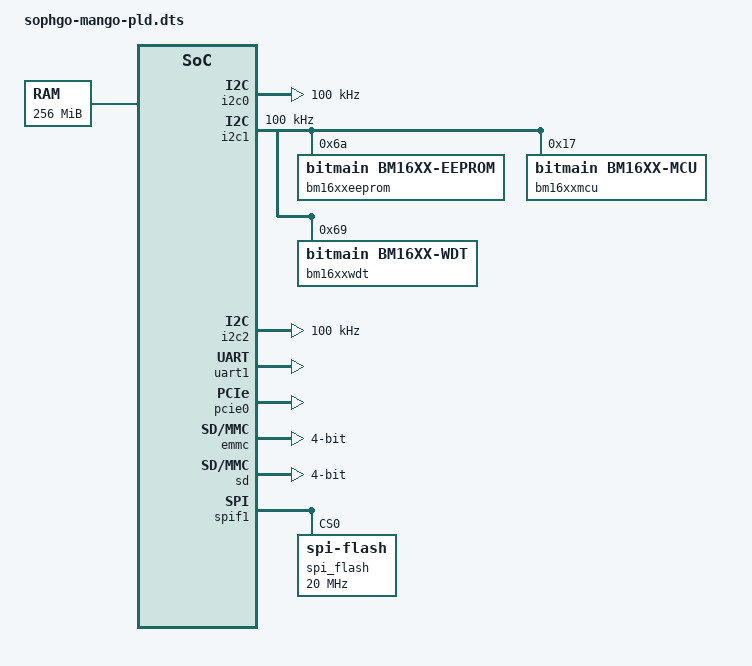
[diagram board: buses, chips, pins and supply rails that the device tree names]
/dts-v1/;

#include <dt-bindings/interrupt-controller/arm-gic.h>
#include <dt-bindings/gpio/gpio.h>

/ {
	compatible = "linux,dummy-virt";
	#size-cells = <0x2>;
	#address-cells = <0x2>;
	interrupt-parent = <&gic>;

	memory {
		reg = <0x00 0x00000000 0x0 0x10000000>;
		device_type = "memory";
	};

	gic: interrupt-controller {
		compatible = "arm,cortex-a15-gic";
		ranges;
		#size-cells = <0x2>;
		#address-cells = <0x2>;
		interrupt-controller;
		#interrupt-cells = <0x3>;
		reg = <0x70 0x31001000 0x0 0x1000>,
		      <0x70 0x31002000 0x0 0x2000>;
	};

	psci {
		migrate = <0xc4000005>;
		cpu_on = <0xc4000003>;
		cpu_off = <0x84000002>;
		cpu_suspend = <0xc4000001>;
		sys_poweroff = <0x84000008>;
		sys_reset = <0x84000009>;
		method = "smc";
		compatible = "arm,psci-0.2", "arm,psci";
	};

	cpus {
		#size-cells = <0x0>;
		#address-cells = <0x1>;
		cpu-map {
			cluster0 {
				core0 {
					cpu = <&cpu0>;
				};
				core1 {
					cpu = <&cpu1>;
				};
				core2 {
					cpu = <&cpu2>;
				};
				core3 {
					cpu = <&cpu3>;
				};
		    };
			cluster1 {
				core0 {
					cpu = <&cpu4>;
				};
				core1 {
					cpu = <&cpu5>;
				};
				core2 {
					cpu = <&cpu6>;
				};
				core3 {
					cpu = <&cpu7>;
				};
			};
		};

		cpu0: cpu@0 {
			reg = <0x0>;
			enable-method = "psci";
			compatible = "arm,cortex-a53";
			device_type = "cpu";
		};

		cpu1: cpu@1 {
			reg = <0x1>;
			enable-method = "psci";
			compatible = "arm,cortex-a53";
			device_type = "cpu";
		};

		cpu2: cpu@2 {
			reg = <0x2>;
			enable-method = "psci";
			compatible = "arm,cortex-a53";
			device_type = "cpu";
		};

		cpu3: cpu@3 {
			reg = <0x3>;
			enable-method = "psci";
			compatible = "arm,cortex-a53";
			device_type = "cpu";
		};

		cpu4: cpu@100 {
			reg = <0x100>;
			enable-method = "psci";
			compatible = "arm,cortex-a53";
			device_type = "cpu";
		};

		cpu5: cpu@101 {
			reg = <0x101>;
			enable-method = "psci";
			compatible = "arm,cortex-a53";
			device_type = "cpu";
		};

		cpu6: cpu@102 {
			reg = <0x102>;
			enable-method = "psci";
			compatible = "arm,cortex-a53";
			device_type = "cpu";
		};

		cpu7: cpu@103 {
			reg = <0x103>;
			enable-method = "psci";
			compatible = "arm,cortex-a53";
			device_type = "cpu";
		};
	};

	timer {
		interrupts = <GIC_PPI 13 (GIC_CPU_MASK_SIMPLE(8) | IRQ_TYPE_LEVEL_LOW)>,
			<GIC_PPI 14 (GIC_CPU_MASK_SIMPLE(8) | IRQ_TYPE_LEVEL_LOW)>,
			<GIC_PPI 11 (GIC_CPU_MASK_SIMPLE(8) | IRQ_TYPE_LEVEL_LOW)>,
			<GIC_PPI 10 (GIC_CPU_MASK_SIMPLE(8) | IRQ_TYPE_LEVEL_LOW)>;
		always-on;
		compatible = "arm,armv8-timer";
	};

	apb_pclk {
		phandle = <0x8000>;
		clock-output-names = "clk24mhz";
		clock-frequency = <0x16e3600>;
		#clock-cells = <0x0>;
		compatible = "fixed-clock";
	};

	rst: reset-controller {
		compatible = "bitmain,bm-reset";
		reg = <0x70 0x30013000 0x0 0xc>;
		#reset-cells = <1>;
	 };

	gpio: gpio@7030009000 {
		compatible = "snps,dw-apb-gpio";
		reg = <0x70 0x30009000 0x0 0x1000>;
		#address-cells = <1>;
		#size-cells = <0>;

		port0a: gpio-controller@0 {
			compatible = "snps,dw-apb-gpio-port";
			bank-name = "port0a";
			gpio-controller;
			#gpio-cells = <2>;
			snps,nr-gpios = <32>;
			reg = <0>;
			interrupt-controller;
			interrupts = <GIC_SPI 64 IRQ_TYPE_LEVEL_HIGH>;
		};
	};

	gpio1: gpio@703000a000 {
		compatible = "snps,dw-apb-gpio";
		reg = <0x70 0x3000a000 0x0 0x1000>;
		#address-cells = <1>;
		#size-cells = <0>;

		port1a: gpio-controller@1 {
			compatible = "snps,dw-apb-gpio-port";
			bank-name = "port1a";
			gpio-controller;
			#gpio-cells = <2>;
			snps,nr-gpios = <32>;
			reg = <0>;
			interrupt-controller;
			interrupts = <GIC_SPI 65 IRQ_TYPE_LEVEL_HIGH>;
		};
	};

	gpio2: gpio@703000b000 {
		compatible = "snps,dw-apb-gpio";
		reg = <0x70 0x3000b000 0x0 0x1000>;
		#address-cells = <1>;
		#size-cells = <0>;

		port2a: gpio-controller@2 {
			compatible = "snps,dw-apb-gpio-port";
			bank-name = "port2a";
			gpio-controller;
			#gpio-cells = <2>;
			snps,nr-gpios = <32>;
			reg = <0>;
			interrupt-controller;
			interrupts = <GIC_SPI 66 IRQ_TYPE_LEVEL_HIGH>;
		};
	};

	i2c0: i2c@7030005000 {
		compatible = "snps,designware-i2c";
		reg = <0x70 0x30005000 0x0 0x1000>;
		bus-clocks = <100000000>;
		clock-frequency = <100000>;
	};

	i2c1: i2c@7030006000 {
		compatible = "snps,designware-i2c";
		reg = <0x70 0x30006000 0x0 0x1000>;
		bus-clocks = <100000000>;
		clock-frequency = <100000>;

		#address-cells = <1>;
		#size-cells = <0>;

		bm16xxeeprom@6a {
			compatible = "bitmain,bm16xx-eeprom";
			reg = <0x6a>;

			#address-cells = <1>;
			#size-cells = <1>;
			sn: sn@0000 {
				reg = <0x0000 17>;
			};

			mac0: mac0@0020 {
				reg = <0x0020 6>;
			};

			mac1: mac1@0040 {
				reg = <0x0040 6>;
			};
		};

		bm16xxmcu@17 {
			compatible = "bitmain,bm16xx-mcu";
			reg = <0x17>;

			nvmem-cells = <&sn>, <&mac0>, <&mac1>;
			nvmem-cell-names = "sn", "mac0", "mac1";
		};

		bm16xxwdt@69 {
			compatible = "bitmain,bm16xx-wdt";
			reg = <0x69>;
		};
	};

	i2c2: i2c@7030007000 {
		compatible = "snps,designware-i2c";
		reg = <0x70 0x30007000 0x0 0x1000>;
		bus-clocks = <100000000>;
		clock-frequency = <100000>;
	};

	uart1: serial1@7040001000 {
		compatible = "snps,dw-apb-uart";
		reg = <0x70 0x40001000 0x0 0x1000>;
		clock-frequency = <1843200>;
		interrupts = <GIC_SPI 81 IRQ_TYPE_LEVEL_HIGH>;
		reg-shift = <2>;
		reg-io-width = <4>;
	};

	aliases {
		serial1 = &uart1;
	};

	chosen {
		stdout-path = "serial1"; // "serial0:115200n8", no arguments means no re-initialization
	};

	pcie0: pcie0@60000000{
		compatible = "sophgo,mango-cdns-pcie";
		device_type = "pci";
		#address-cells = <3>;
		#size-cells = <2>;
		bus-range = <0x0 0x1f>;  // For this example, config space is just sized for 32 buses.

		// This is a 64 bit system, so two cells each for cpu address & size
		// CPU_PHYSICAL(2)  SIZE(2)
		reg = <0x20 (0x00000000) 0x0 0x2000000>, /*Config space */
		      <0x0 (0x60000000) 0x0 0x1000000>;  /*pcie base */
		reg-names = "cfg", "reg_base";

		linux,pci-domain = <0>;
		/// BUS_ADDRESS(3)  CPU_PHYSICAL(2)  SIZE(2)
		ranges =
			< 0x02000000 0x20 (0x02000000) 0x20 (0x02000000) 0x0 0x1000000 >, // MEM
			< 0x01000000 0x20 (0x03000000) 0x20 (0x03000000) 0x0 0x10000 >;   // IO

		/* DMA ranges */
		dma-ranges =
			/* 128MiB at 0x00000000-0x07ffffff */
			<0x02000000 0x0 0x00000000 0x0 0x00000000 0x0 0x08000000>,
			/* 64MiB at 0x00000000-0x03ffffff */
			<0x02000000 0x0 0x00000000 0x0 0x00000000 0x0 0x04000000>,
			/* 64MiB at 0x00000000-0x03ffffff */
			<0x02000000 0x0 0x00000000 0x0 0x00000000 0x0 0x04000000>;

		#interrupt-cells = <0x1>;

		// PCI_DEVICE(3)  INT#(1)  CONTROLLER(PHANDLE)  CONTROLLER_DATA(5)
		//interrupt-map = <  0x0 0x0 0x0  0x1  &gic  0x0 0x0 0x0 12 0x1
		//              0x0 0x0 0x0  0x2  &gic  0x0  0x0 0x0   13 0x1
		//              0x0 0x0 0x0  0x3  &gic  0x0  0x0 0x0   14 0x1
		//              0x0 0x0 0x0  0x4  &gic  0x0  0x0 0x0   15 0x1 >;

		//msi-parent = <&its_pci>;
		// PCI_DEVICE(3)  INT#(1)
		interrupt-map-mask = <0x0000 0x0 0x0  0x7>;
	};

	emmc: sdhc@704002A000 {
		compatible = "bitmain,synopsys-sdhc";
		bus-width = <4>;
		reg = <0x70 0x4002A000 0x0 0x1000>;
		max-frequency = <50000000>;
		mmc_init_freq = <200000>;
		mmc_trans_freq = <12500000>;
		64_addressing;
		index = <0x0>;
		status = "okay";
	};

	sd: sdhc@704002B000 {
		compatible = "bitmain,synopsys-sdhc";
		bus-width = <4>;
		reg = <0x70 0x4002B000 0x0 0x1000>;
		max-frequency = <50000000>;
		mmc_init_freq = <200000>;
		mmc_trans_freq = <12000000>;
		64_addressing;
		index = <0x1>;
		status = "okay";
	};

	spif1: spi@7002180000 {
		compatible = "bitmain,spif";
		reg = <0x70 0x02180000 0x0 0x1000>;
		status = "okay";
		#address-cells = <1>;
		#size-cells = <0>;

		spi_flash: spiflash@1 {
			compatible = "spi-flash";
			spi-max-frequency = <20000000>;
			reg = <0>;
		};
	};

	pinctrl@0x7030011000 {
		compatible = "sophgo,mango-pinctrl";
		reg = <0x70 0x30011000 0x0 0x1000>;
		u-boot,dm-pre-reloc;
	};

	rtc:rtc@7030002000 {
		compatible = "sophgo,mango-rtc";
		reg = <0x70 0x30002000 0x0 0x1000>;
		rtc-counter = <0>;
	};
};
